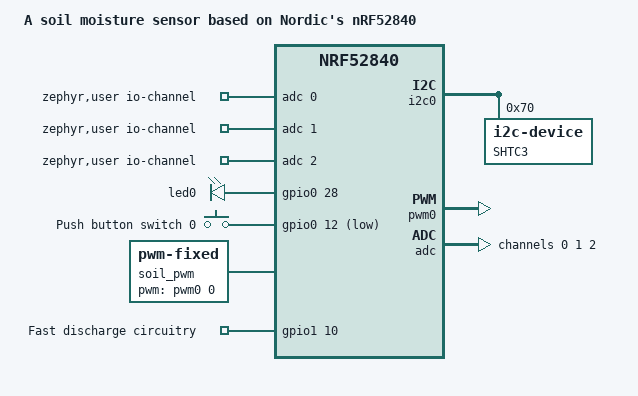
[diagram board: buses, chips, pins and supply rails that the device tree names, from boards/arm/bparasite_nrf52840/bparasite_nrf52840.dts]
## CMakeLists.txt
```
cmake_minimum_required(VERSION 3.20.0)

find_package(Zephyr REQUIRED HINTS $ENV{ZEPHYR_BASE})

project(b_parasite)

include_directories(src)

target_sources(app PRIVATE
	src/main.c
	src/prst/shtc3.c
	src/prst/adc.c
	src/prst/led.c
	src/prst/button.c
	src/prst/ble/ble.c
	src/prst/ble/encoding.c
)
```

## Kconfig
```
source "Kconfig.zephyr"

choice PRST_NETWORK
	prompt "b-parasite Network"
	default PRST_NETWORK_BLE

config PRST_NETWORK_NONE
    bool "Network disabled"

config PRST_NETWORK_BLE
    bool "Uses BLE as the network"
    depends on BT

endchoice  # PRST_NETWORK

config PRST_SLEEP_DURATION_SEC
	int "Sleep duration in seconds"
	default 1

###
### BLE configs
###

config PRST_BLE_ADV_DURATION_SEC
	int "Advertising duration in seconds"
	default 1

choice PRST_BLE_ENCODING
	prompt "b-parasite BLE encoding"
	depends on PRST_NETWORK_BLE
	default PRST_BLE_ENCODING_BPARASITE_V2

config PRST_BLE_ENCODING_BPARASITE_V2
	bool "Uses the custom b-parasite protocol v2 for encoding advertising packets"

config PRST_BLE_ENCODING_BTHOME
	bool "Uses the BTHome (bthome.io) BLE encoding"

endchoice  # PRST_BLE_ENCODING

config PRST_BLE_ENCODING_SERVICE_DATA_LEN
	int
	help
		Size of the service data buffer
	default 20 if PRST_BLE_ENCODING_BPARASITE_V2
	default 18 if PRST_BLE_ENCODING_BTHOME
```

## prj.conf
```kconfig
# Enabling log has a big impact in power consumption. Only enable it while debugging.
CONFIG_LOG=n
CONFIG_PWM=y
CONFIG_CBPRINTF_FP_SUPPORT=y
CONFIG_I2C=y
CONFIG_ADC=y
CONFIG_GPIO=y

CONFIG_BT=y
CONFIG_BT_PERIPHERAL=y
CONFIG_BT_DEBUG_LOG=n
CONFIG_BT_DEVICE_NAME="prst"
CONFIG_BT_SETTINGS=n
CONFIG_SETTINGS=n
CONFIG_BT_CTLR_TX_PWR_PLUS_8=y

CONFIG_SERIAL=n
CONFIG_PM=y
CONFIG_PM_DEVICE=y

CONFIG_USE_SEGGER_RTT=y

CONFIG_CONSOLE=n
CONFIG_RTT_CONSOLE=n

CONFIG_PINCTRL=y
```

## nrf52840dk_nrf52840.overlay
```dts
&pinctrl {
	/* Configure pwm0 instance to use pin 5. */
	pwm0_default: pwm0_default {
		group1 {
			psels = <NRF_PSEL(PWM_OUT0, 0, 5)>;
			nordic,invert;
		};
	};

	pwm0_sleep: pwm0_sleep {
		group1 {
			psels = <NRF_PSEL(PWM_OUT0, 0, 5)>;
			low-power-enable;
		};
	};

	/* Configure i2c0 instance to use pins 24 (SDA) & 13 (SCL). */
	i2c0_default: i2c0_default {
		group1 {
			psels = <NRF_PSEL(TWIM_SDA, 0, 24)>,
							<NRF_PSEL(TWIM_SCL, 0, 13)>;
		};
	};

	i2c0_sleep: i2c0_sleep {
		group1 {
			psels = <NRF_PSEL(TWIM_SDA, 0, 24)>,
							<NRF_PSEL(TWIM_SCL, 0, 13)>;
			low-power-enable;
		};
	};
};

&i2c0 {
	shtc3: shtc3@70 {
		compatible = "i2c-device";
		reg = <0x70>;
		label = "SHTC3";
	};
};

&adc {
	#address-cells = <1>;
	#size-cells = <0>;
	channel@0 {
		reg = <0>;
		zephyr,gain = "ADC_GAIN_1_6";
		zephyr,reference = "ADC_REF_INTERNAL";
		zephyr,acquisition-time = <ADC_ACQ_TIME_DEFAULT>;
		// P0.03.
		zephyr,input-positive = <NRF_SAADC_AIN1>;
		zephyr,resolution = <10>;

	};

	channel@1 {
		reg = <1>;
		zephyr,gain = "ADC_GAIN_1_6";
		zephyr,reference = "ADC_REF_INTERNAL";
		zephyr,acquisition-time = <ADC_ACQ_TIME_DEFAULT>;
		zephyr,input-positive = <NRF_SAADC_AIN1>;
		zephyr,resolution = <10>;
	};

	channel@2 {
		reg = <2>;
		zephyr,gain = "ADC_GAIN_1_6";
		zephyr,reference = "ADC_REF_INTERNAL";
		zephyr,acquisition-time = <ADC_ACQ_TIME_DEFAULT>;
		zephyr,input-positive = <NRF_SAADC_VDD>;
		zephyr,resolution = <10>;
		// zephyr,oversampling = <8>;
	};
};

/ {
	zephyr,user {
		io-channels = <&adc 0>, <&adc 1>, <&adc 2>;
	};

	soil_pwm: soil_pwm {
		compatible = "pwm-fixed";
		pwms = <&pwm0 0 PWM_MSEC(100) PWM_POLARITY_INVERTED>;
		pulse = <PWM_MSEC(50)>;
	};
};
```

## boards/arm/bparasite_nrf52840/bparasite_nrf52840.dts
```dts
/dts-v1/;
#include <nordic/nrf52840_qiaa.dtsi>
#include "bparasite_nrf52840-pinctrl.dtsi"

/ {
	model = "A soil moisture sensor based on Nordic's nRF52840";
	compatible = "rbaron,bparasite_nrf52840";

	chosen {
		zephyr,sram = &sram0;
		zephyr,flash = &flash0;
		zephyr,code-partition = &slot0_partition;
	};

	zephyr,user {
		io-channels = <&adc 0>, <&adc 1>, <&adc 2>;
	};

	leds {
		compatible = "gpio-leds";
		led0: led_0 {
			// P0.28.
			gpios = <&gpio0 28 GPIO_ACTIVE_HIGH>;
		};
	};

	buttons {
		compatible = "gpio-keys";
		button0: button_0 {
			// P0.12.
			gpios = <&gpio0 12 (GPIO_PULL_UP | GPIO_ACTIVE_LOW)>;
			label = "Push button switch 0";
		};
	};

	soil_pwm: soil_pwm {
		compatible = "pwm-fixed";
		pwms = <&pwm0 0 PWM_MSEC(100) PWM_POLARITY_NORMAL>;
		pulse = <PWM_MSEC(50)>;
	};

	ctrl {
		compatible = "gpio-keys";
		fast_disch: fast_disch {
			// P1.10.
			gpios = <&gpio1 10 GPIO_ACTIVE_HIGH>;
			label = "Fast discharge circuitry";
		};
	};
};

&gpiote {
	status = "okay";
};

&gpio0 {
	status = "okay";
};

&gpio1 {
	status = "okay";
};

&uart0 {
	compatible = "nordic,nrf-uart";
	status = "disabled";
	current-speed = <115200>;
	pinctrl-0 = <&uart0_default>;
	pinctrl-1 = <&uart0_sleep>;
	pinctrl-names = "default", "sleep";
};

&i2c0 {
	compatible = "nordic,nrf-twi";
	status = "okay";
	pinctrl-0 = <&i2c0_default>;
	pinctrl-1 = <&i2c0_sleep>;
	pinctrl-names = "default", "sleep";

	shtc3: shtc3@70 {
		compatible = "i2c-device";
		reg = <0x70>;
		label = "SHTC3";
	};
};

&pwm0 {
	status = "okay";
	pinctrl-0 = <&pwm0_default>;
	pinctrl-1 = <&pwm0_sleep>;
	pinctrl-names = "default", "sleep";
};

&adc {
	#address-cells = <1>;
	#size-cells = <0>;
	status = "ok";
	channel@0 {
		reg = <0>;
		zephyr,gain = "ADC_GAIN_1_6";
		zephyr,reference = "ADC_REF_INTERNAL";
		zephyr,acquisition-time = <ADC_ACQ_TIME_DEFAULT>;
		// P0.03.
		zephyr,input-positive = <NRF_SAADC_AIN1>;
		zephyr,resolution = <10>;

	};

	channel@1 {
		reg = <1>;
		zephyr,gain = "ADC_GAIN_1_6";
		zephyr,reference = "ADC_REF_INTERNAL";
		zephyr,acquisition-time = <ADC_ACQ_TIME_DEFAULT>;
		// P0.02.
		zephyr,input-positive = <NRF_SAADC_AIN0>;
		zephyr,resolution = <10>;
	};

	channel@2 {
		reg = <2>;
		zephyr,gain = "ADC_GAIN_1_6";
		zephyr,reference = "ADC_REF_INTERNAL";
		zephyr,acquisition-time = <ADC_ACQ_TIME_DEFAULT>;
		zephyr,input-positive = <NRF_SAADC_VDD>;
		zephyr,resolution = <10>;
	};
};


&flash0 {

	partitions {
		compatible = "fixed-partitions";
		#address-cells = <1>;
		#size-cells = <1>;

		boot_partition: partition@0 {
			label = "mcuboot";
			reg = <0x00000000 0x0000C000>;
		};
		slot0_partition: partition@c000 {
			label = "image-0";
			reg = <0x0000C000 0x00067000>;
		};
		slot1_partition: partition@73000 {
			label = "image-1";
			reg = <0x00073000 0x00067000>;
		};
		scratch_partition: partition@da000 {
			label = "image-scratch";
			reg = <0x000da000 0x0001e000>;
		};

		/*
		 * The flash starting at 0x000f8000 and ending at
		 * 0x000fffff is reserved for use by the application.
		 */

		/*
		 * Storage partition will be used by FCB/LittleFS/NVS
		 * if enabled.
		 */
		storage_partition: partition@f8000 {
			label = "storage";
			reg = <0x000f8000 0x00008000>;
		};
	};
};
```

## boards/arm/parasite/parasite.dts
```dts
/dts-v1/;
#include <nordic/nrf52840_qiaa.dtsi>

&pinctrl {
	/* Configure pwm0 instance to use pin 5. */
	pwm0_default: pwm0_default {
		group1 {
			psels = <NRF_PSEL(PWM_OUT0, 0, 5)>;
			nordic,invert;
		};
	};

	pwm0_sleep: pwm0_sleep {
		group1 {
			psels = <NRF_PSEL(PWM_OUT0, 0, 5)>;
			low-power-enable;
		};
	};

	/* Configure i2c0 instance to use pins 24 (SDA) & 13 (SCL). */
	i2c0_default: i2c0_default {
		group1 {
			psels = <NRF_PSEL(TWIM_SDA, 0, 24)>,
							<NRF_PSEL(TWIM_SCL, 0, 13)>;
		};
	};

	i2c0_sleep: i2c0_sleep {
		group1 {
			psels = <NRF_PSEL(TWIM_SDA, 0, 24)>,
							<NRF_PSEL(TWIM_SCL, 0, 13)>;
			low-power-enable;
		};
	};
};

&i2c0 {
	compatible = "nordic,nrf-twi";
	status = "okay";
	pinctrl-0 = <&i2c0_default>;
	pinctrl-1 = <&i2c0_sleep>;
	pinctrl-names = "default", "sleep";

	shtc3: shtc3@70 {
		compatible = "i2c-device";
		reg = <0x70>;
		label = "SHTC3";
	};
};

&pwm0 {
	status = "okay";
	pinctrl-0 = <&pwm0_default>;
	pinctrl-1 = <&pwm0_sleep>;
	pinctrl-names = "default", "sleep";
};

&adc {
	#address-cells = <1>;
	#size-cells = <0>;
	status = "ok";
	channel@0 {
		reg = <0>;
		zephyr,gain = "ADC_GAIN_1_6";
		zephyr,reference = "ADC_REF_INTERNAL";
		zephyr,acquisition-time = <ADC_ACQ_TIME_DEFAULT>;
		// P0.03.
		zephyr,input-positive = <NRF_SAADC_AIN1>;
		zephyr,resolution = <10>;

	};

	channel@1 {
		reg = <1>;
		zephyr,gain = "ADC_GAIN_1_6";
		zephyr,reference = "ADC_REF_INTERNAL";
		zephyr,acquisition-time = <ADC_ACQ_TIME_DEFAULT>;
		// P0.02.
		zephyr,input-positive = <NRF_SAADC_AIN0>;
		zephyr,resolution = <10>;
	};

	channel@2 {
		reg = <2>;
		zephyr,gain = "ADC_GAIN_1_6";
		zephyr,reference = "ADC_REF_INTERNAL";
		zephyr,acquisition-time = <ADC_ACQ_TIME_DEFAULT>;
		zephyr,input-positive = <NRF_SAADC_VDD>;
		zephyr,resolution = <10>;
	};
};


&flash0 {

	partitions {
		compatible = "fixed-partitions";
		#address-cells = <1>;
		#size-cells = <1>;

		boot_partition: partition@0 {
			label = "mcuboot";
			reg = <0x00000000 0x0000C000>;
		};
		slot0_partition: partition@c000 {
			label = "image-0";
			reg = <0x0000C000 0x00067000>;
		};
		slot1_partition: partition@73000 {
			label = "image-1";
			reg = <0x00073000 0x00067000>;
		};
		scratch_partition: partition@da000 {
			label = "image-scratch";
			reg = <0x000da000 0x0001e000>;
		};

		/*
		 * The flash starting at 0x000f8000 and ending at
		 * 0x000fffff is reserved for use by the application.
		 */

		/*
		 * Storage partition will be used by FCB/LittleFS/NVS
		 * if enabled.
		 */
		storage_partition: partition@f8000 {
			label = "storage";
			reg = <0x000f8000 0x00008000>;
		};
	};
};

/ {

	model = "A soil moisture sensor";
	compatible = "rbaron,b-parasite";

	zephyr,user {
		io-channels = <&adc 0>, <&adc 1>, <&adc 2>;
		zephyr,sram = &sram0;
		zephyr,flash = &flash0;
		zephyr,code-partition = &slot0_partition;
	};

	soil_pwm: soil_pwm {
		compatible = "pwm-fixed";
		pwms = <&pwm0 0 PWM_MSEC(100) PWM_POLARITY_INVERTED>;
		pulse = <PWM_MSEC(50)>;
	};
};
```

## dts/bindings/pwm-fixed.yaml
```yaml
# Hello

description: A fixed frequency & pulse PWM.

compatible: pwm-fixed

include: base.yaml

properties:
  pwms:
    type: phandle-array
    required: true
    description: the PWM spec.

  pulse:
    required: true
    type: int
    description: The period of the PWM pulse.
```

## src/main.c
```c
#include <logging/log.h>
#include <zephyr/pm/device.h>
#include <zephyr/pm/pm.h>
#include <zephyr/pm/policy.h>
#include <zephyr/zephyr.h>

#include "prst/adc.h"
#include "prst/ble/ble.h"
#include "prst/button.h"
#include "prst/data.h"
#include "prst/led.h"
#include "prst/macros.h"
#include "prst/shtc3.h"

LOG_MODULE_REGISTER(main, LOG_LEVEL_DBG);

int main(void) {
  RET_IF_ERR(prst_adc_init());
  RET_IF_ERR(prst_led_init());
  RET_IF_ERR(prst_button_init());
  RET_IF_ERR(prst_ble_init());

  RET_IF_ERR(prst_led_flash(2));

  prst_sensors_t sensors;
  while (true) {
    RET_IF_ERR(prst_adc_batt_read(&sensors.batt));
    RET_IF_ERR(prst_adc_soil_read(sensors.batt.voltage, &sensors.soil));
    RET_IF_ERR(prst_adc_photo_read(sensors.batt.voltage, &sensors.photo));
    RET_IF_ERR(prst_shtc3_read(&sensors.shtc3))

    LOG_INF("Batt: %d mV", sensors.batt.millivolts);
    LOG_INF("Soil: %.0f %% (%.3f mV)", 100 * sensors.soil.percentage,
            sensors.soil.adc_read.voltage);
    LOG_INF("Photo: %u lx (%.3f mV)", sensors.photo.brightness,
            sensors.soil.adc_read.voltage);
    LOG_INF("Temp: %f oC", sensors.shtc3.temp_c);
    LOG_INF("Humi: %.0f %%", 100.0 * sensors.shtc3.rel_humi);
    LOG_INF("--------------------------------------------------");

    RET_IF_ERR(prst_ble_adv_set_data(&sensors));
    RET_IF_ERR(prst_ble_adv_start());

    k_sleep(K_SECONDS(CONFIG_PRST_BLE_ADV_DURATION_SEC));

    RET_IF_ERR(prst_ble_adv_stop());

    k_sleep(K_SECONDS(CONFIG_PRST_SLEEP_DURATION_SEC));
  }
}
```
